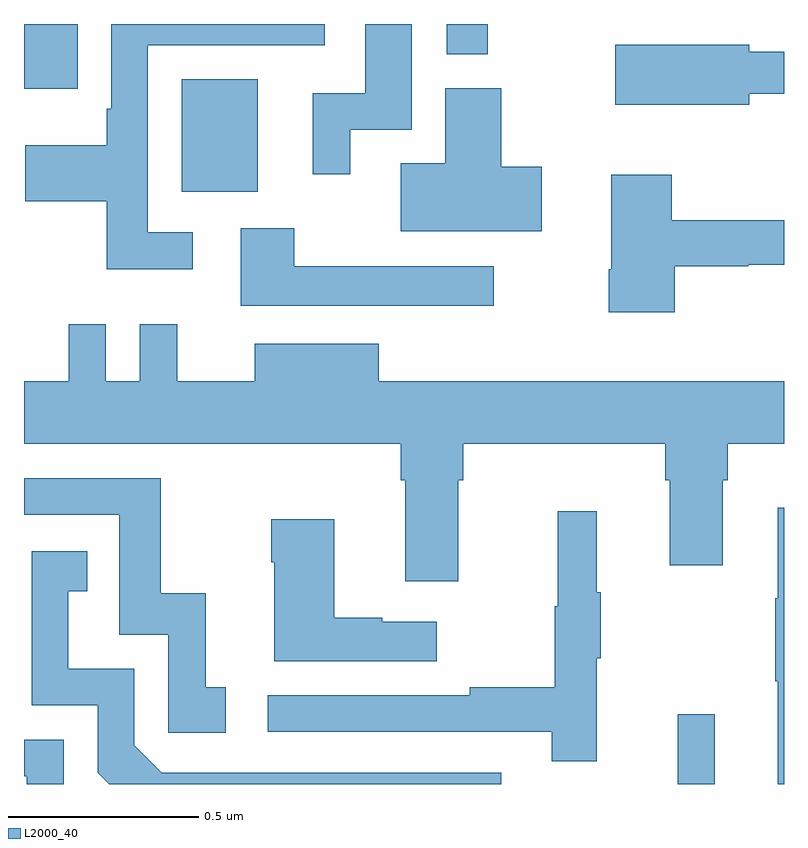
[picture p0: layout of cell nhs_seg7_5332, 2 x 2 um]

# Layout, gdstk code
import gdstk
lib = gdstk.Library(unit=1e-6, precision=1e-09)
def R(c, l, rs):  # rectangles x0, y0, x1, y1
    for r in rs: c.add(gdstk.rectangle(r[:2], r[2:], *l))
def P(c, l, *ps):  # polygons
    for p in ps: c.add(gdstk.Polygon(p, *l))
L2000_40 = (2000, 40)

nhs_seg7_5332 = lib.new_cell('nhs_seg7_5332')
R(nhs_seg7_5332, L2000_40, [(185.721,1053,185.818,1053.184), (184.415,1054.559,184.615,1054.855), (184,1054.829,184.141,1055), (185.112,1054.92,185.221,1055)])
P(nhs_seg7_5332, L2000_40, [(184.858,1054.722),(185.02,1054.722),(185.02,1055),(184.898,1055),(184.898,1054.818),(184.76,1054.818),(184.76,1054.605),(184.858,1054.605)],
  [(184.444,1054.452),(184.326,1054.452),(184.326,1054.944),(184.792,1054.944),(184.792,1055),(184.23,1055),(184.23,1054.777),(184.218,1054.777),(184.218,1054.681),(184.003,1054.681),(184.003,1054.534),(184.218,1054.534),(184.218,1054.355),(184.444,1054.355)],
  [(185.908,1054.817),(186,1054.817),(186,1054.927),(185.908,1054.927),(185.908,1054.945),(185.556,1054.945),(185.556,1054.787),(185.908,1054.787)],
  [(185.362,1054.625),(185.256,1054.625),(185.256,1054.831),(185.108,1054.831),(185.108,1054.633),(184.991,1054.633),(184.991,1054.454),(185.362,1054.454)],
  [(185.712,1054.362),(185.906,1054.362),(185.906,1054.367),(186,1054.367),(186,1054.483),(185.704,1054.483),(185.704,1054.603),(185.546,1054.603),(185.546,1054.354),(185.539,1054.354),(185.539,1054.242),(185.712,1054.242)],
  [(185.236,1054.363),(184.711,1054.363),(184.711,1054.462),(184.571,1054.462),(184.571,1054.259),(185.236,1054.259)],
  [(184.933,1054.159),(184.607,1054.159),(184.607,1054.06),(184.403,1054.06),(184.403,1054.21),(184.305,1054.21),(184.305,1054.06),(184.215,1054.06),(184.215,1054.21),(184.118,1054.21),(184.118,1054.06),(184,1054.06),(184,1053.896),(184.991,1053.896),(184.991,1053.8),(185.003,1053.8),(185.003,1053.534),(185.143,1053.534),(185.143,1053.8),(185.156,1053.8),(185.156,1053.896),(185.687,1053.896),(185.687,1053.8),(185.699,1053.8),(185.699,1053.576),(185.839,1053.576),(185.839,1053.8),(185.852,1053.8),(185.852,1053.896),(186,1053.896),(186,1054.06),(184.933,1054.06)],
  [(184.531,1053.255),(184.478,1053.255),(184.478,1053.502),(184.36,1053.502),(184.36,1053.804),(184,1053.804),(184,1053.708),(184.251,1053.708),(184.251,1053.393),(184.38,1053.393),(184.38,1053.135),(184.531,1053.135)],
  [(186,1053.727),(185.984,1053.727),(185.984,1053.489),(185.977,1053.489),(185.977,1053.271),(185.984,1053.271),(185.984,1053),(186,1053)],
  [(185.507,1053.331),(185.518,1053.331),(185.518,1053.505),(185.507,1053.505),(185.507,1053.718),(185.404,1053.718),(185.404,1053.468),(185.397,1053.468),(185.397,1053.254),(185.173,1053.254),(185.173,1053.234),(184.641,1053.234),(184.641,1053.138),(185.389,1053.138),(185.389,1053.06),(185.507,1053.06)],
  [(185.086,1053.427),(184.943,1053.427),(184.943,1053.437),(184.816,1053.437),(184.816,1053.697),(184.651,1053.697),(184.651,1053.584),(184.658,1053.584),(184.658,1053.323),(185.086,1053.323)],
  [(185.256,1053.03),(184.362,1053.03),(184.29,1053.102),(184.29,1053.303),(184.117,1053.303),(184.117,1053.507),(184.166,1053.507),(184.166,1053.613),(184.02,1053.613),(184.02,1053.207),(184.194,1053.207),(184.194,1053.03),(184.224,1053),(185.256,1053)],
  [(184.104,1053.117),(184,1053.117),(184,1053.021),(184.007,1053.021),(184.007,1053),(184.104,1053)])

lib.write_gds('nhs_seg7_5332.gds')
